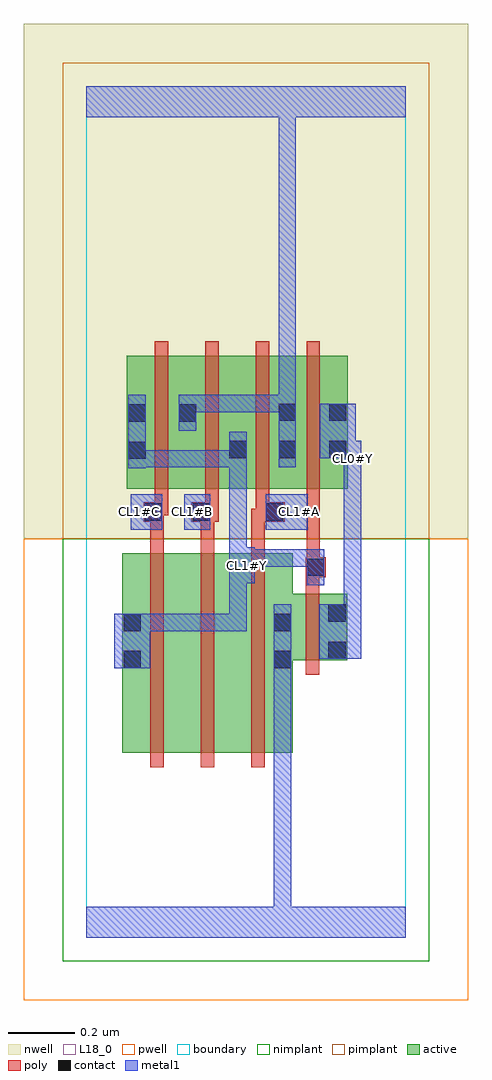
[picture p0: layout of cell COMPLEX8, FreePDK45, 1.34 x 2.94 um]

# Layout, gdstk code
import gdstk
lib = gdstk.Library(unit=1e-6, precision=1e-09)
def R(c, l, rs):  # rectangles x0, y0, x1, y1
    for r in rs: c.add(gdstk.rectangle(r[:2], r[2:], *l))
def A(c, l, x, y, w, h, nx, ny, dx, dy):  # array of equal rectangles
    R(c, l, [(x+i*dx, y+j*dy, x+i*dx+w, y+j*dy+h) for i in range(nx) for j in range(ny)])
active = (1, 0)
pwell = (2, 0)
nwell = (3, 0)
nimplant = (4, 0)
pimplant = (5, 0)
poly = (9, 0)
contact = (10, 0)
metal1 = (11, 0)
L18_0 = (18, 0)
boundary = (235, 0)

complex8 = lib.new_cell('COMPLEX8')
A(complex8, active, 0.122, 1.35, 0.06, 0.294, 3, 1, 0.152, 0)
R(complex8, active, [(0.108,0.556,0.288,1.156), (0.108,0.556,0.168,1.156), (0.288,0.556,0.44,1.156), (0.44,0.556,0.62,1.156), (0.56,0.556,0.62,0.978), (0.56,0.834,0.784,1.034), (0.724,0.834,0.784,1.034), (0.122,1.35,0.334,1.75), (0.274,1.35,0.486,1.75), (0.426,1.35,0.634,1.75), (0.574,1.35,0.634,1.644), (0.574,1.35,0.786,1.75), (0.726,1.35,0.786,1.644)])
R(complex8, pwell, [(-0.188,-0.188,1.148,1.2)])
R(complex8, nwell, [(-0.188,1.2,1.148,2.748)])
R(complex8, nimplant, [(-0.072,-0.072,1.032,1.2)])
R(complex8, pimplant, [(-0.072,1.2,1.032,2.632)])
A(complex8, poly, 0.192, 0.512, 0.04, 0.688, 3, 1, 0.152, 0)
A(complex8, poly, 0.192, 1.16, 0.04, 0.13, 3, 1, 0.152, 0)
A(complex8, poly, 0.206, 1.27, 0.04, 0.076, 3, 1, 0.152, 0)
A(complex8, poly, 0.206, 1.306, 0.04, 0.488, 4, 1, 0.152, 0)
R(complex8, poly, [(0.66,0.79,0.7,1.078), (0.66,1.038,0.7,1.124), (0.66,1.084,0.72,1.144), (0.662,1.104,0.702,1.346), (0.662,1.104,0.702,1.144), (0.662,1.104,0.702,1.144), (0.172,1.25,0.232,1.31), (0.316,1.25,0.398,1.31), (0.344,1.25,0.384,1.29), (0.344,1.25,0.384,1.29), (0.496,1.25,0.55,1.29), (0.51,1.25,0.55,1.29), (0.51,1.25,0.596,1.31), (0.192,1.27,0.232,1.31), (0.192,1.27,0.246,1.31)])
R(complex8, contact, [(0.112,0.81,0.164,0.862), (0.564,0.81,0.616,0.862), (0.728,0.838,0.78,0.89), (0.112,0.922,0.164,0.974), (0.564,0.922,0.616,0.974), (0.728,0.95,0.78,1.002), (0.664,1.088,0.716,1.14), (0.176,1.254,0.228,1.306), (0.32,1.254,0.372,1.306), (0.54,1.254,0.592,1.306), (0.126,1.44,0.178,1.492), (0.43,1.442,0.482,1.494), (0.578,1.442,0.63,1.494), (0.73,1.442,0.782,1.494), (0.126,1.552,0.178,1.604), (0.278,1.552,0.33,1.604), (0.578,1.554,0.63,1.606), (0.73,1.554,0.782,1.606)])
A(complex8, metal1, 0.126, 1.414, 0.052, 0.052, 3, 1, 0.152, 0)
R(complex8, metal1, [(0,0,0.96,0.092), (0.564,0.04,0.616,0.092), (0.564,0.04,0.616,0.092), (0.564,0.04,0.616,0.092), (0.564,0.04,0.616,0.092), (0.564,0.04,0.616,0.834), (0.564,0.782,0.616,0.834), (0.564,0.782,0.616,0.834), (0.564,0.782,0.616,0.834), (0.564,0.782,0.616,0.834), (0.564,0.782,0.616,1.002), (0.084,0.81,0.192,0.974), (0.7,0.838,0.826,1.002), (0.14,0.922,0.192,0.974), (0.14,0.922,0.192,0.974), (0.14,0.922,0.33,0.974), (0.278,0.922,0.33,0.974), (0.278,0.922,0.482,0.974), (0.43,0.922,0.482,0.974), (0.43,0.922,0.482,0.974), (0.43,0.922,0.482,0.974), (0.43,0.922,0.482,1.118), (0.774,0.95,0.826,1.438), (0.664,1.06,0.716,1.168), (0.43,1.066,0.506,1.174), (0.454,1.116,0.606,1.168), (0.554,1.116,0.606,1.168), (0.554,1.116,0.616,1.168), (0.564,1.116,0.616,1.168), (0.564,1.116,0.716,1.168), (0.43,1.122,0.482,1.466), (0.134,1.226,0.228,1.334), (0.294,1.226,0.372,1.334), (0.54,1.226,0.666,1.334), (0.774,1.386,0.826,1.494), (0.126,1.412,0.178,1.632), (0.126,1.414,0.178,1.466), (0.126,1.414,0.33,1.466), (0.278,1.414,0.482,1.466), (0.43,1.414,0.482,1.466), (0.43,1.414,0.482,1.466), (0.43,1.414,0.482,1.466), (0.43,1.414,0.482,1.522), (0.578,1.414,0.63,1.634), (0.702,1.442,0.81,1.606), (0.758,1.442,0.81,1.494), (0.758,1.442,0.826,1.494), (0.774,1.442,0.826,1.494), (0.278,1.524,0.33,1.632), (0.278,1.58,0.44,1.632), (0.388,1.58,0.44,1.632), (0.388,1.58,0.44,1.632), (0.388,1.58,0.44,1.632), (0.388,1.58,0.606,1.632), (0.554,1.58,0.606,1.632), (0.554,1.58,0.63,1.632), (0.578,1.582,0.63,2.52), (0,2.468,0.96,2.56), (0.578,2.468,0.63,2.52), (0.578,2.468,0.63,2.52), (0.578,2.468,0.63,2.52), (0.578,2.468,0.63,2.52), (0.578,2.468,0.63,2.52), (0.578,2.468,0.63,2.52), (0.578,2.468,0.63,2.52), (0.578,2.468,0.63,2.52), (0.578,2.468,0.63,2.52), (0.578,2.468,0.63,2.52), (0.578,2.468,0.63,2.52), (0.578,2.468,0.63,2.52), (0.578,2.468,0.63,2.52), (0.578,2.468,0.63,2.52), (0.578,2.468,0.63,2.52), (0.578,2.468,0.63,2.52)])
A(complex8, L18_0, 0.126, 1.414, 0.052, 0.052, 3, 1, 0.152, 0)
R(complex8, L18_0, [(0,0,0.96,0.092), (0.564,0.04,0.616,0.092), (0.564,0.04,0.616,0.092), (0.564,0.04,0.616,0.092), (0.564,0.04,0.616,0.092), (0.564,0.04,0.616,0.834), (0.564,0.782,0.616,1.002), (0.564,0.782,0.616,0.834), (0.564,0.782,0.616,0.834), (0.564,0.782,0.616,0.834), (0.564,0.782,0.616,0.834), (0.084,0.81,0.192,0.974), (0.7,0.838,0.826,1.002), (0.14,0.922,0.192,0.974), (0.14,0.922,0.192,0.974), (0.14,0.922,0.33,0.974), (0.278,0.922,0.33,0.974), (0.278,0.922,0.482,0.974), (0.43,0.922,0.482,0.974), (0.43,0.922,0.482,0.974), (0.43,0.922,0.482,0.974), (0.43,0.922,0.482,1.118), (0.774,0.95,0.826,1.438), (0.664,1.06,0.716,1.168), (0.43,1.066,0.506,1.174), (0.454,1.094,0.506,1.146), (0.454,1.116,0.606,1.168), (0.554,1.116,0.606,1.168), (0.554,1.116,0.616,1.168), (0.564,1.116,0.616,1.168), (0.564,1.116,0.716,1.168), (0.43,1.122,0.482,1.466), (0.134,1.226,0.228,1.334), (0.294,1.226,0.372,1.334), (0.54,1.226,0.666,1.334), (0.134,1.254,0.186,1.306), (0.294,1.254,0.346,1.306), (0.614,1.254,0.666,1.306), (0.774,1.386,0.826,1.494), (0.126,1.412,0.178,1.632), (0.126,1.414,0.178,1.466), (0.126,1.414,0.33,1.466), (0.278,1.414,0.482,1.466), (0.43,1.414,0.482,1.466), (0.43,1.414,0.482,1.466), (0.43,1.414,0.482,1.466), (0.43,1.414,0.482,1.522), (0.578,1.414,0.63,1.634), (0.774,1.414,0.826,1.466), (0.702,1.442,0.81,1.606), (0.758,1.442,0.81,1.494), (0.758,1.442,0.826,1.494), (0.774,1.442,0.826,1.494), (0.278,1.524,0.33,1.632), (0.278,1.58,0.44,1.632), (0.388,1.58,0.44,1.632), (0.388,1.58,0.44,1.632), (0.388,1.58,0.44,1.632), (0.388,1.58,0.606,1.632), (0.554,1.58,0.606,1.632), (0.554,1.58,0.63,1.632), (0.578,1.582,0.63,2.52), (0,2.468,0.96,2.56), (0.578,2.468,0.63,2.52), (0.578,2.468,0.63,2.52), (0.578,2.468,0.63,2.52), (0.578,2.468,0.63,2.52), (0.578,2.468,0.63,2.52), (0.578,2.468,0.63,2.52), (0.578,2.468,0.63,2.52), (0.578,2.468,0.63,2.52), (0.578,2.468,0.63,2.52), (0.578,2.468,0.63,2.52), (0.578,2.468,0.63,2.52), (0.578,2.468,0.63,2.52), (0.578,2.468,0.63,2.52), (0.578,2.468,0.63,2.52), (0.578,2.468,0.63,2.52), (0.578,2.468,0.63,2.52)])
R(complex8, boundary, [(0,0,0.96,2.56)])
complex8.add(gdstk.Label('CL0#Y', (0.8,1.44), layer=11, texttype=0))
complex8.add(gdstk.Label('CL1#A', (0.64,1.28), layer=11, texttype=0))
complex8.add(gdstk.Label('CL1#B', (0.32,1.28), layer=11, texttype=0))
complex8.add(gdstk.Label('CL1#C', (0.16,1.28), layer=11, texttype=0))
complex8.add(gdstk.Label('CL1#Y', (0.48,1.12), layer=11, texttype=0))

lib.write_gds('COMPLEX8.gds')
